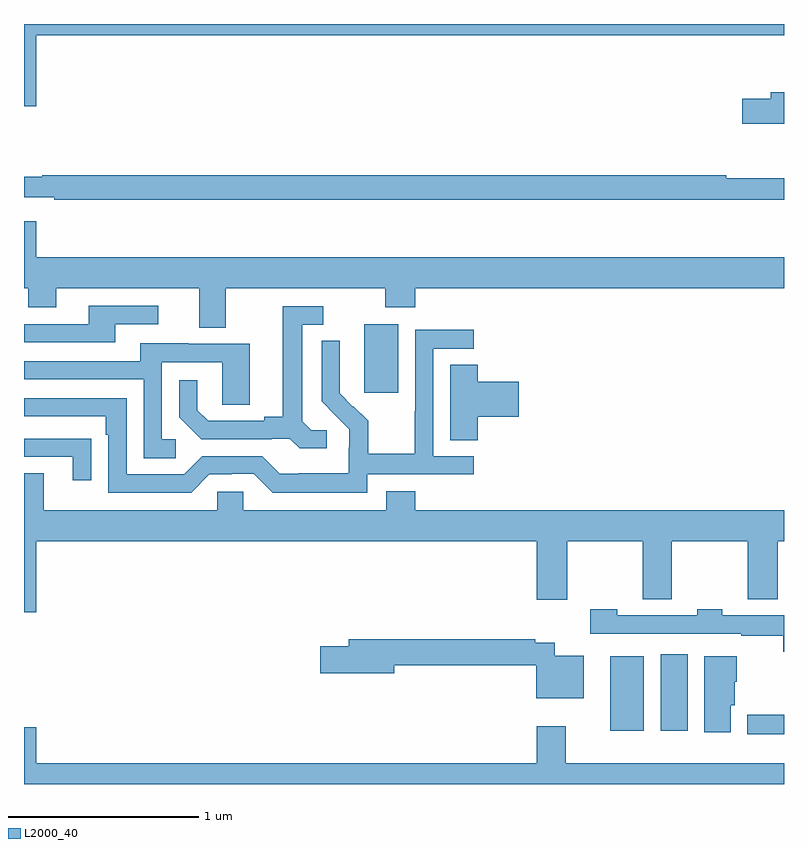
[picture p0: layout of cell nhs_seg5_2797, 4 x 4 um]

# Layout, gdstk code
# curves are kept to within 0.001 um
import gdstk
lib = gdstk.Library(unit=1e-6, precision=1e-09)
def R(c, l, rs):  # rectangles x0, y0, x1, y1
    for r in rs: c.add(gdstk.rectangle(r[:2], r[2:], *l))
def P(c, l, *ps):  # polygons
    for p in ps: c.add(gdstk.Polygon(p, *l))
L2000_40 = (2000, 40)

nhs_seg5_2797 = lib.new_cell('nhs_seg5_2797')
R(nhs_seg5_2797, L2000_40, [(276.807,873.062,277,873.164), (276.086,873.08,276.262,873.472), (276.35,873.08,276.493,873.481), (274.79,874.857,274.969,875.218)])
P(nhs_seg5_2797, L2000_40, [(273.064,876.74),(277,876.74),(277,876.799),(273,876.799),(273,876.366),(273.064,876.366)],
  [(277,876.439),(276.929,876.439),(276.929,876.405),(276.78,876.405),(276.78,876.275),(277,876.275)],
  [(277,875.987),(276.695,875.987),(276.695,876.002),(273.095,876.002),(273.095,875.995),(273,875.995),(273,875.886),(273.16,875.886),(273.16,875.874),(277,875.874)],
  [(274.063,875.408),(274.9,875.408),(274.9,875.309),(275.06,875.309),(275.06,875.408),(277,875.408),(277,875.572),(273.064,875.572),(273.064,875.761),(273,875.761),(273,875.408),(273.022,875.408),(273.022,875.309),(273.169,875.309),(273.169,875.408),(273.923,875.408),(273.923,875.2),(274.063,875.2)],
  [(273.481,875.22),(273.706,875.22),(273.706,875.316),(273.341,875.316),(273.341,875.22),(273,875.22),(273,875.124),(273.481,875.124)],
  [(274.594,874.662),(274.512,874.662),(274.465,874.709),(274.465,875.217),(274.576,875.217),(274.576,875.313),(274.361,875.313),(274.361,874.733),(274.265,874.733),(274.265,874.71),(273.97,874.71),(273.913,874.767),(273.913,874.924),(273.816,874.924),(273.816,874.73),(273.932,874.614),(274.304,874.614),(274.304,874.617),(274.398,874.617),(274.45,874.565),(274.594,874.565)],
  [(274.806,874.428),(275.368,874.428),(275.368,874.524),(275.154,874.524),(275.154,875.091),(275.368,875.091),(275.368,875.19),(275.058,875.19),(275.058,874.76),(275.056,874.76),(275.056,874.537),(274.811,874.537),(274.811,874.711),(274.734,874.788),(274.731,874.785),(274.661,874.856),(274.662,875.132),(274.566,875.132),(274.566,874.814),(274.712,874.666),(274.712,874.569),(274.71,874.569),(274.71,874.435),(274.447,874.435),(274.447,874.431),(274.347,874.431),(274.254,874.524),(273.939,874.524),(273.843,874.428),(273.54,874.428),(273.54,874.83),(273,874.83),(273,874.734),(273.431,874.734),(273.431,874.637),(273.444,874.637),(273.444,874.332),(273.879,874.332),(273.975,874.428),(274.094,874.428),(274.094,874.431),(274.209,874.431),(274.309,874.331),(274.806,874.331)],
  [(273.799,874.614),(273.726,874.614),(273.726,875.019),(274.044,875.019),(274.044,874.795),(274.189,874.795),(274.189,875.115),(273.865,875.115),(273.865,875.119),(273.611,875.119),(273.611,875.025),(273,875.025),(273,874.929),(273.63,874.929),(273.63,874.513),(273.799,874.513)],
  [(275.387,874.733),(275.605,874.733),(275.605,874.916),(275.387,874.916),(275.387,875.006),(275.243,875.006),(275.243,874.609),(275.387,874.609)],
  [(273.353,874.616),(273.251,874.616),(273.251,874.617),(273,874.617),(273,874.521),(273.257,874.521),(273.257,874.398),(273.353,874.398)],
  [(275.699,873.768),(275.859,873.768),(275.859,874.076),(276.256,874.076),(276.256,873.772),(276.41,873.772),(276.41,874.076),(276.808,874.076),(276.808,873.772),(276.968,873.772),(276.968,874.076),(277,874.076),(277,874.24),(275.06,874.24),(275.06,874.339),(274.907,874.339),(274.907,874.24),(274.155,874.24),(274.155,874.338),(274.017,874.338),(274.017,874.24),(273.103,874.24),(273.103,874.435),(273,874.435),(273,873.702),(273.064,873.702),(273.064,874.076),(275.699,874.076)],
  [(277,873.687),(276.675,873.687),(276.675,873.72),(276.543,873.72),(276.543,873.687),(276.123,873.687),(276.123,873.72),(275.979,873.72),(275.979,873.591),(276.775,873.591),(276.775,873.579),(276.997,873.579),(276.997,873.494),(277,873.494)],
  [(275.947,873.475),(275.793,873.475),(275.793,873.543),(275.69,873.543),(275.69,873.56),(274.709,873.56),(274.709,873.524),(274.56,873.524),(274.56,873.382),(274.948,873.382),(274.948,873.424),(275.697,873.424),(275.697,873.251),(275.947,873.251)],
  [(276.721,873.213),(276.742,873.213),(276.742,873.336),(276.751,873.336),(276.751,873.472),(276.581,873.472),(276.581,873.072),(276.721,873.072)],
  [(277,872.908),(275.851,872.908),(275.851,873.103),(275.699,873.103),(275.699,872.908),(273.064,872.908),(273.064,873.097),(273,873.097),(273,872.799),(277,872.799)])

lib.write_gds('nhs_seg5_2797.gds')
